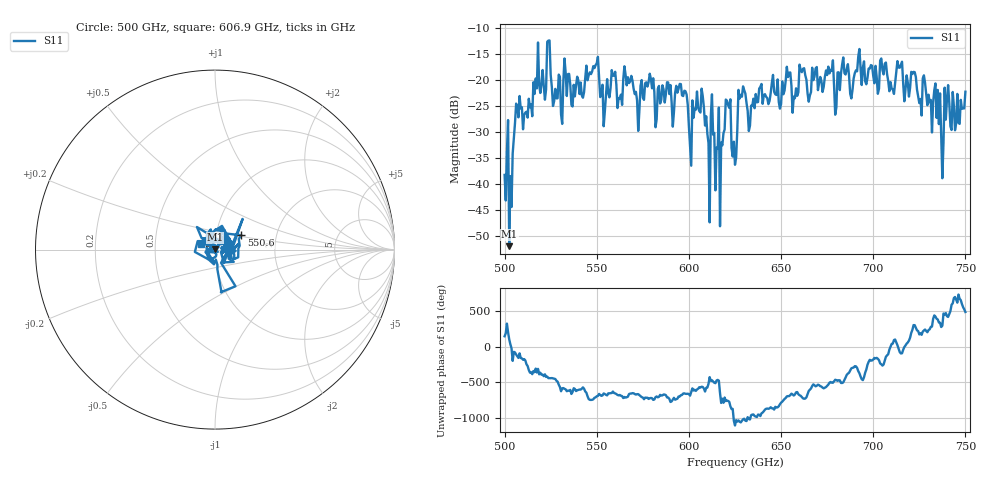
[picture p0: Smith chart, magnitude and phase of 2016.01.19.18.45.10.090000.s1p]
!Created with skrf (http://scikit-rf.org).
# GHz S RI R 50.0
!freq ReS11 ImS11
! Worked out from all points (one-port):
!   401 points, 500 GHz to 750 GHz, reference 50 ohm
!   lowest |S11| = -52.0 dB at 502.5 GHz (marker M1), VSWR 1.01, Z = 49.9 + j0.245 ohm
!   |S11| at or under -10 dB: start of sweep to end of sweep
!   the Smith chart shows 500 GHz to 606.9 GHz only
!   S11 on the Smith chart (normalised r, x): 500 GHz: 0.98, +0.01; 550.6 GHz: 1.32, +0.22; 606.9 GHz: 0.86, +0.05
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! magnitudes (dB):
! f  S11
! 500 GHz  -38.3
! 502.5 GHz  -52.0
! 503.8 GHz  -44.5
! 506.9 GHz  -25.0
! 516.9 GHz  -19.7
! 524.4 GHz  -12.4
! 526.9 GHz  -24.1
! 531.2 GHz  -28.5
! 550.6 GHz  -15.5
! 553.1 GHz  -20.9
! 559.4 GHz  -19.2
! 562.5 GHz  -23.5
! 593.8 GHz  -22.4
! 601.2 GHz  -36.5
! 606.9 GHz  -21.7
! 610 GHz  -30.4
! 613.1 GHz  -30.5
! 615.6 GHz  -33.3
! 621.2 GHz  -24.8
! 625 GHz  -36.3
! 628.1 GHz  -22.8
! 656.2 GHz  -26.3
! 687.5 GHz  -22.6
! 718.8 GHz  -20.5
! 733.8 GHz  -20.7
! 736.9 GHz  -30.8
! 740 GHz  -23.8
! 750 GHz  -22.3
